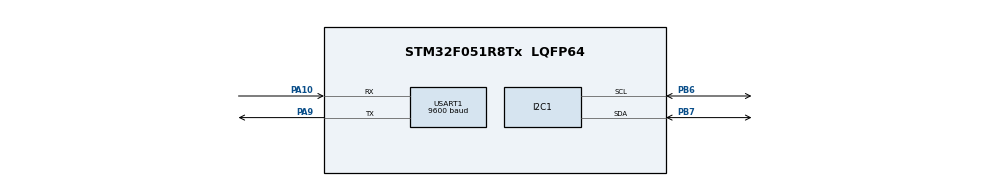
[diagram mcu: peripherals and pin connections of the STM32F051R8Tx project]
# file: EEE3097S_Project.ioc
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Mcu.Family=STM32F0
Mcu.Name=STM32F051R8Tx
Mcu.Package=LQFP64
PA10.Mode=Asynchronous
PA10.Signal=USART1_RX
PA9.Mode=Asynchronous
PA9.Signal=USART1_TX
PB6.Mode=I2C
PB6.Signal=I2C1_SCL
PB7.Mode=I2C
PB7.Signal=I2C1_SDA
ProjectManager.HeapSize=0x200
ProjectManager.StackSize=0x400
ProjectManager.TargetToolchain=STM32CubeIDE
USART1.BaudRate=9600
USART1.VirtualMode-Asynchronous=VM_ASYNC
board=custom

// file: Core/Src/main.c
/* USER CODE BEGIN Header */

/*
 * Data collection size can be between 44 bytes and 616 bytes
 */

/* USER CODE END Header */
#include "main.h"
#include "i2c.h"
#include "usart.h"
#include "gpio.h"

/* USER CODE BEGIN Includes */
#include <stdio.h>
#include <string.h>
#include <stdlib.h>
#include <stdint.h>
#include <unistd.h>
#include <time.h>

#include "stm32f0xx_hal_i2c.h"
#include "heatshrink/heatshrink_encoder.h"
#include "heatshrink/heatshrink_decoder.h"
#include "blowfish/blowfish.h"
#include "crc32/crc32.h"

#include "sensors/imu.h"
#include "sensors/DEV_Config.h"
/* USER CODE END Includes */

/* USER CODE BEGIN PTD */
uint8_t UART_UpdataFlag = 0;
uint8_t IMU_SampleFlag = 0;
uint8_t Press_SampleFlag = 0;
int16_t magn[3] = {0};
int16_t accel[3] = {0}, gyro[3] = {0};
/* USER CODE END PTD */

/* USER CODE BEGIN PD */
#define DATASIZE 132
#define KEYSIZE 32
/* USER CODE END PD */

/* USER CODE BEGIN PV */
uint8_t compressed_size[4] = {0};
/* USER CODE END PV */

void SystemClock_Config(void);
/* USER CODE BEGIN PFP */
void Compress(uint8_t *input, uint32_t input_size, uint8_t *output);
void Decompress(uint8_t *input, uint32_t input_size, uint32_t comp_size, uint8_t *output);
uint8_t Encrypt(uint8_t *input, uint32_t input_size, uint8_t *output);
void Decrypt(uint8_t *input, uint32_t input_size, uint8_t padding, uint8_t *output);
void xcrc32(const uint8_t *buf, uint32_t len, uint8_t *output);
/* USER CODE END PFP */

int main(void)
{

  /* MCU Configuration--------------------------------------------------------*/

  /* Reset of all peripherals, Initializes the Flash interface and the Systick. */
  HAL_Init();

  /* Configure the system clock */
  SystemClock_Config();

  /* Initialize all configured peripherals */
  MX_GPIO_Init();
  MX_I2C1_Init();
  MX_USART1_UART_Init();
  /* USER CODE BEGIN 2 */
  IMU_Init();

  /* USER CODE END 2 */

  /* Infinite loop */
  /* USER CODE BEGIN WHILE */
  #if 0
  // Temporary data array 1
  uint8_t *arr1 = calloc(DATASIZE, sizeof(uint8_t));
  // Temporary data array 2
  uint8_t *arr2 = calloc(DATASIZE, sizeof(uint8_t));

  // End sequence used after each transmission of data during non-IMU module tests
  char text[10] = "\rEEEEEEE\r\n";
  // Buffer array for end sequence
  char buf[10] = {0};
  // print the end sequence to the buffer array
  sprintf(buf, text, sizeof(text));
  // Ready to transmit data sequence used by client and STMs
  char ready[3] = "RDY";
  // Ready to receive data from the client
  char gimmeData[3] = "GMD";
  // Skip receiving this set of data from the client
  char skip[3] = "SKP";
  // Buffer used for ready, gimmeData, and skip
  uint8_t buf2[3] = {0};

  // compressed data size
  uint32_t comp_size;
  // padding length for encryption/decryption
  uint8_t padding_len[1] = {0};
  // int time value
  uint32_t time_val;
  // checksum array
  uint8_t *crc = calloc(4, sizeof(uint8_t));

  // Generate encryption key
  uint32_t *key = calloc(KEYSIZE, sizeof(uint32_t));
  key[0] = 0x11;
  key[31] = 0xFF;

  blowfish_init(key, KEYSIZE);
  free(key);

  // count is used for tracking how many insertions to arr1 have occurred (how much data is in arr1)
  uint32_t count = 0;
  // Used for indicating to the client that DATASIZE sensor data has been collected
  char text2[14] = "Data Collected";
  // Buffer used for "Data Collected"
  char buf3[14] = {0};
  // print "Data Collected" to buf3
  sprintf(buf3, text2, sizeof(text2));

  // single byte int time array
  uint8_t *time_arr = calloc(4, sizeof(uint8_t));
  #else
  // Buffer for printing the sensor data to the PC's serial port
  char buffer[60];
  #endif

  while (1)
  {
    IMU_GetQuater();
    // FOR NON-IMU Module TESTS CHANGE 0 TO 1
    #if 0
    // FOR UNDER-SAMPLING TEST USE DATASIZE == 132, AND COUNT == 88
	// FOR FASTER SAMPLING CHANGE THE DEV_DELAY_ms FROM 500 ms TO 100 ms
    if (count == DATASIZE) {
    	// FOR GAUSSIAN NOISE EXPERIMENT UNCOMMENT THIS FOR LOOP
    	//for (int i = 0; i < DATASIZE; i++) { arr1[i] = arr1[i] + rand()%2; }

    	// TRANSMIT the DATA COLLECTED sequence
    	HAL_UART_Transmit(&huart1, (uint8_t*)buf3, sizeof(buf3), 1000);
    	// TRANSMIT the END SEQUENCE
		HAL_UART_Transmit(&huart1, (uint8_t*)buf, sizeof(buf), 1000);
		HAL_Delay(100);
		// TRANSMIT the sensor DATA - FOR CHECKSUM BLOCK TESTS
		/*HAL_UART_Transmit(&huart1, arr1, DATASIZE, 5000);
		// TRANSMIT the END SEQUENCE
		HAL_UART_Transmit(&huart1, (uint8_t*)buf, sizeof(buf), 1000);
		HAL_Delay(100);*/
    	while (1)
    	{
			// RECEIVE directive from USER
			HAL_UART_Receive(&huart1, buf2, 3, 500);
			if (memcmp(ready, buf2, 3) == 0) {
				// CALCULATE the CRC32 Checksum
				xcrc32(arr1, DATASIZE, crc);
				// TRANSMIT the CRC32 Checksum
				HAL_UART_Transmit(&huart1, crc, 4, 1000);
				// TRANSMIT the END SEQUENCE
				HAL_UART_Transmit(&huart1, (uint8_t*)buf, sizeof(buf), 1000);
				HAL_Delay(100);

				// COMPRESS the data - FOR COMPRESSION BLOCK AND OVERALL FUNCTIONALITY TESTS
				Compress(arr1, DATASIZE, arr2);
				// CALCULATE the compressed size
				comp_size = compressed_size[0] + (compressed_size[1] << 8) + (compressed_size[2] << 16) + (compressed_size[3] << 24);
				// TRANSMIT the compressed DATA - FOR COMPRESSION BLOCK AND OVERALL FUNCTIONALITY TESTS
				HAL_UART_Transmit(&huart1, arr2, comp_size, 5000);
				// TRANSMIT the END SEQUENCE
				HAL_UART_Transmit(&huart1, (uint8_t*)buf, sizeof(buf), 1000);
				HAL_Delay(100);

				// ENCRYPT the data - FOR ENCRYPTION BLOCK AND OVERALL FUNCTIONALITY TESTS
				padding_len[0] = Encrypt(arr2, comp_size, arr1);  // CHANGE comp_size->DATASIZE & arr2<->arr1 FOR ENCRYPTION BLOCK TESTS
				// TRANSMIT the encrypted DATA - FOR ENCRYPTION BLOCK AND OVERALL FUNCTIONALITY TESTS
				HAL_UART_Transmit(&huart1, arr1, comp_size + padding_len[0], 5000);  // CHANGE comp_size->DATASIZE & arr1->arr2 FOR ENCRYPTION BLOCK TESTS
				// TRANSMIT the END SEQUENCE
				HAL_UART_Transmit(&huart1, (uint8_t*)buf, sizeof(buf), 1000);
				HAL_Delay(100);

				// TRANSMIT the COMPRESSED SIZE data - FOR COMPRESSION BLOCK AND OVERALL FUNCTIONALITY TESTS
				HAL_UART_Transmit(&huart1, compressed_size, 4, 1000);
				// TRANSMIT the END SEQUENCE
				HAL_UART_Transmit(&huart1, (uint8_t*)buf, sizeof(buf), 1000);
				HAL_Delay(100);

				// TRANSMIT the PADDING LENGTH data - FOR ENCRYPTION BLOCK AND OVERALL FUNCTIONALITY TESTS
				HAL_UART_Transmit(&huart1, padding_len, 1, 1000);
				// TRANSMIT the END SEQUENCE
				HAL_UART_Transmit(&huart1, (uint8_t*)buf, sizeof(buf), 1000);

				// Reset all arrays and variables in preparation for the next iteration
				memset(buf2, 0, sizeof(buf2));
				memset(compressed_size, 0, 4);
				memset(padding_len, 0, 1);
				memset(arr1, 0, DATASIZE);
				memset(arr2, 0, DATASIZE);
				memset(crc, 0, 4);
				comp_size = 0;
			} else if (memcmp(gimmeData, buf2, 3) == 0) {
				// RECEIVE the PADDING LENGTH data - FOR ENCRYPTION BLOCK AND OVERALL FUNCTIONALITY TESTS
				HAL_UART_Receive(&huart1, padding_len, 1, 1000);
				HAL_Delay(100);
				// TRANSMIT the PADDING LENGTH data
				HAL_UART_Transmit(&huart1, padding_len, 1, 1000);
				// TRANSMIT the END SEQUENCE
				HAL_UART_Transmit(&huart1, (uint8_t*)buf, sizeof(buf), 1000);
				HAL_Delay(100);

				// RECEIVE the COMPRESSED SIZE data - FOR COMPRESSION BLOCK AND OVERALL FUNCTIONALITY TESTS
				HAL_UART_Receive(&huart1, compressed_size, 4, 1000);
				HAL_Delay(100);
				// TRANSMIT the COMPRESSED SIZE data
				HAL_UART_Transmit(&huart1, compressed_size, 4, 1000);
				// TRANSMIT the END SEQUENCE
				HAL_UART_Transmit(&huart1, (uint8_t*)buf, sizeof(buf), 1000);
				HAL_Delay(100);

				// CALCULATE THE COMPRESSED DATA SIZE
				comp_size = compressed_size[0] + (compressed_size[1] << 8) + (compressed_size[2] << 16) + (compressed_size[3] << 24);

				// RECEIVE the compressed DATA - FOR COMPRESSION BLOCK TESTS
				/*HAL_UART_Receive(&huart1, arr2, comp_size, 5000);
				HAL_Delay(100);
				// TRANSMIT the compressed DATA
				HAL_UART_Transmit(&huart1, arr2, comp_size, 1000);
				// TRANSMIT the END SEQUENCE
				HAL_UART_Transmit(&huart1, (uint8_t*)buf, sizeof(buf), 1000);
				HAL_Delay(100);*/

				// RECEIVE the encrypted DATA - FOR ENCRYPTION BLOCK AND OVERALL FUNCTIONALITY TESTS
				HAL_UART_Receive(&huart1, arr1, comp_size + padding_len[0], 5000);  // CHANGE comp_size->DATASIZE FOR ENCRYPTION BLOCK TESTS
				HAL_Delay(100);
				// TRANSMIT the encrypted DATA - FOR ENCRYPTION BLOCK AND OVERALL FUNCTIONALITY TESTS
				HAL_UART_Transmit(&huart1, arr1, comp_size + padding_len[0], 1000);  // CHANGE comp_size->DATASIZE FOR ENCRYPTION BLOCK TESTS
				// TRANSMIT the END SEQUENCE
				HAL_UART_Transmit(&huart1, (uint8_t*)buf, sizeof(buf), 1000);
				HAL_Delay(100);

				// DECRYPT the DATA
				Decrypt(arr1, DATASIZE, padding_len[0], arr2);
				// TRANSMIT the decrypted DATA - FOR ENCRYPTION BLOCK TESTS AND OVERALL FUNCTIONALITY TESTS
				HAL_UART_Transmit(&huart1, arr2, DATASIZE, 5000);
				// TRANSMIT the END SEQUENCE
				HAL_UART_Transmit(&huart1, (uint8_t*)buf, sizeof(buf), 1000);
				HAL_Delay(100);

				// DECOMPRESS the DATA
				Decompress(arr2, DATASIZE, comp_size, arr1);
				// TRANSMIT the decompressed DATA - FOR COMPRESSION BLOCK AND OVERALL FUNCTIONALITY TESTS
				HAL_UART_Transmit(&huart1, arr1, DATASIZE, 5000);
				// TRANSMIT the END SEQUENCE
				HAL_UART_Transmit(&huart1, (uint8_t*)buf, sizeof(buf), 1000);
				HAL_Delay(100);

				// RECEIVE the sensor DATA - FOR CHECKSUM BLOCK TESTS
				/*HAL_UART_Receive(&huart1, arr1, DATASIZE, 5000);
				// TRANSMIT the sensor DATA
				HAL_UART_Transmit(&huart1, arr1, DATASIZE, 1000);
				// TRANSMIT the END SEQUENCE
				HAL_UART_Transmit(&huart1, (uint8_t*)buf, sizeof(buf), 1000);
				HAL_Delay(100);

				// MODIFY FIRST BYTE OF SENSOR DATA TO ILLUSTRATE ALTERED DATA'S EFFECT ON THE CHECKSUM
				if (arr1[0] != 0x00) {
					arr1[0] = 0x00;
				} else {
					arr1[0] = 0x01;
				}*/

				// CALCULATE the CRC32 checksum
				xcrc32(arr1, DATASIZE, crc);
				// TRANSMIT the CRC32 checksum
				HAL_UART_Transmit(&huart1, crc, 4, 1000);
				// TRANSMIT the END SEQUENCE
				HAL_UART_Transmit(&huart1, (uint8_t*)buf, sizeof(buf), 1000);
				HAL_Delay(100);
				break;
			} else if (memcmp(skip, buf2, 3) == 0) {
				break;
			}
    	}
    	// Reset all arrays and variables in preparation for the next iteration
    	memset(buf2, 0, sizeof(buf2));
		memset(compressed_size, 0, 4);
		memset(padding_len, 0, 1);
		memset(arr1, 0, DATASIZE);
		memset(arr2, 0, DATASIZE);
		memset(crc, 0, 4);
		comp_size = 0;
		count = 0;
    } else {
    	// READ TIME DATA
		time_val = time(0);
		memcpy(time_arr, &time_val, sizeof(uint32_t));
		arr1[count++] = time_arr[0];
		arr1[count++] = time_arr[1];
		arr1[count++] = time_arr[2];
		arr1[count++] = time_arr[3];
		// READ ACCELERATION DATA
		arr1[count++] = (accel[0] >> 8) & 0x00FF;
		arr1[count++] = accel[0] & 0x00FF;
		arr1[count++] = (accel[1] >> 8) & 0x00FF;
		arr1[count++] = accel[1] & 0x00FF;
		arr1[count++] = (accel[2] >> 8) & 0x00FF;
		arr1[count++] = accel[2] & 0x00FF;
		// READ GYROSCOPE DATA
		arr1[count++] = (gyro[0] >> 8) & 0x00FF;
		arr1[count++] = gyro[0] & 0x00FF;
		arr1[count++] = (gyro[1] >> 8) & 0x00FF;
		arr1[count++] = gyro[1] & 0x00FF;
		arr1[count++] = (gyro[2] >> 8) & 0x00FF;
		arr1[count++] = gyro[2] & 0x00FF;
		// READ MAGNETOMETER DATA
		arr1[count++] = (magn[0] >> 8) & 0x00FF;
		arr1[count++] = magn[0] & 0x00FF;
		arr1[count++] = (magn[1] >> 8) & 0x00FF;
		arr1[count++] = magn[1] & 0x00FF;
		arr1[count++] = (magn[2] >> 8) & 0x00FF;
		arr1[count++] = magn[2] & 0x00FF;

		// DELAY READING FROM THE SENSOR FOR 500ms
		DEV_Delay_ms(500);
    }
    #else

	snprintf(buffer, sizeof(buffer), "%x,%x,%x,%x,%x,%x,%x,%x,%x", accel[0], accel[1], accel[2], gyro[0], gyro[1], gyro[2], magn[0], magn[1], magn[2]);
	buffer[59] = '\n';
	HAL_UART_Transmit(&huart1, (uint8_t*)buffer, sizeof(buffer), 1000);
	memset(buffer, 0, sizeof(buffer));

    // DELAY READING FROM THE SENSOR FOR 500ms
    DEV_Delay_ms(1000);
    /* USER CODE END WHILE */
    #endif

  }
}

void SystemClock_Config(void)
{
  RCC_OscInitTypeDef RCC_OscInitStruct = {0};
  RCC_ClkInitTypeDef RCC_ClkInitStruct = {0};
  RCC_PeriphCLKInitTypeDef PeriphClkInit = {0};

  /** Initializes the RCC Oscillators according to the specified parameters
  * in the RCC_OscInitTypeDef structure.
  */
  RCC_OscInitStruct.OscillatorType = RCC_OSCILLATORTYPE_HSI;
  RCC_OscInitStruct.HSIState = RCC_HSI_ON;
  RCC_OscInitStruct.HSICalibrationValue = RCC_HSICALIBRATION_DEFAULT;
  RCC_OscInitStruct.PLL.PLLState = RCC_PLL_NONE;
  if (HAL_RCC_OscConfig(&RCC_OscInitStruct) != HAL_OK)
  {
    Error_Handler();
  }

  /** Initializes the CPU, AHB and APB buses clocks
  */
  RCC_ClkInitStruct.ClockType = RCC_CLOCKTYPE_HCLK|RCC_CLOCKTYPE_SYSCLK
                              |RCC_CLOCKTYPE_PCLK1;
  RCC_ClkInitStruct.SYSCLKSource = RCC_SYSCLKSOURCE_HSI;
  RCC_ClkInitStruct.AHBCLKDivider = RCC_SYSCLK_DIV1;
  RCC_ClkInitStruct.APB1CLKDivider = RCC_HCLK_DIV1;

  if (HAL_RCC_ClockConfig(&RCC_ClkInitStruct, FLASH_LATENCY_0) != HAL_OK)
  {
    Error_Handler();
  }
  PeriphClkInit.PeriphClockSelection = RCC_PERIPHCLK_USART1|RCC_PERIPHCLK_I2C1;
  PeriphClkInit.Usart1ClockSelection = RCC_USART1CLKSOURCE_PCLK1;
  PeriphClkInit.I2c1ClockSelection = RCC_I2C1CLKSOURCE_HSI;
  if (HAL_RCCEx_PeriphCLKConfig(&PeriphClkInit) != HAL_OK)
  {
    Error_Handler();
  }
}

/* USER CODE BEGIN 4 */
void Compress(uint8_t *input, uint32_t input_size, uint8_t *output)
{
    static heatshrink_encoder hse;

    heatshrink_encoder_reset(&hse);
    size_t comp_sz = input_size + (input_size/2) + 4;
    uint8_t *comp = calloc(input_size, sizeof(uint8_t));

    size_t count = 0;
    uint32_t sunk = 0;
    uint32_t polled = 0;
    while (sunk < input_size) {
        heatshrink_encoder_sink(&hse, &input[sunk], input_size - sunk, &count);
        sunk += count;
        if (sunk == input_size) {
            heatshrink_encoder_finish(&hse);
        }

        HSE_poll_res pres;
        do {
            pres = heatshrink_encoder_poll(&hse, &comp[polled], comp_sz - polled, &count);
            polled += count;
        } while (pres == HSER_POLL_MORE);
        if (sunk == input_size) {
            heatshrink_encoder_finish(&hse);
        }
    }

    memmove(compressed_size, &polled, sizeof(uint32_t));

    memcpy(output, comp, polled);
    free(comp);
}

void Decompress(uint8_t *input, uint32_t input_size, uint32_t comp_size, uint8_t *output)
{
    static heatshrink_decoder hsd;
    heatshrink_decoder_reset(&hsd);

    size_t decomp_sz = input_size + (input_size/2) + 4;
    uint8_t *decomp = calloc(input_size, sizeof(uint8_t));
    uint32_t sunk = 0;
    uint32_t polled = 0;
    size_t count = 0;

    while (sunk < comp_size) {
        heatshrink_decoder_sink(&hsd, &input[sunk], comp_size - sunk, &count);
        sunk += count;
        if (sunk == comp_size) {
            heatshrink_decoder_finish(&hsd);
        }

        HSD_poll_res pres;
        do {
            pres = heatshrink_decoder_poll(&hsd, &decomp[polled],decomp_sz - polled, &count);
            polled += count;
        } while (pres == HSDR_POLL_MORE);
        if (sunk == comp_size) {
            heatshrink_decoder_finish(&hsd);
        }
    }

    memcpy(output, decomp, polled);
    free(decomp);
}

uint8_t Encrypt(uint8_t *input, uint32_t input_size, uint8_t *output) {
	uint8_t padding = input_size%8;  // Get trailing bytes

	// Determine how many bytes should be added to allow for complete encryption
	if (padding != 0) {
		padding = 8 - padding;
	}

	// Adding padding to the data
	uint8_t *temp_input = calloc(input_size + padding, sizeof(uint8_t));
	memmove(temp_input, input, input_size);

	uint8_t *encrypted = calloc(input_size + padding, sizeof(uint8_t));
	blowfish_encrypt(temp_input, input_size + padding, encrypted);
	free(temp_input);

	memmove(output, encrypted, input_size + padding);
	free(encrypted);

	return padding;
}

void Decrypt(uint8_t *input, uint32_t input_size, uint8_t padding, uint8_t *output) {
	uint8_t *decrypted = calloc(input_size, sizeof(uint8_t));
	blowfish_decrypt(input, input_size, decrypted);
	memmove(output, decrypted, input_size + padding);
	free(decrypted);
}

void xcrc32(const uint8_t *buf, uint32_t len, uint8_t *output)
{
    uint32_t crc = 0;
    while (len--)
    {
        crc = (crc << 8) ^ crc32_table[((crc >> 24) ^ *buf) & 255];
        buf++;
    }

    memmove(output, &crc, sizeof(uint32_t));
}
/* USER CODE END 4 */

void Error_Handler(void)
{
  __disable_irq();
  while (1)
  {
  }
}
